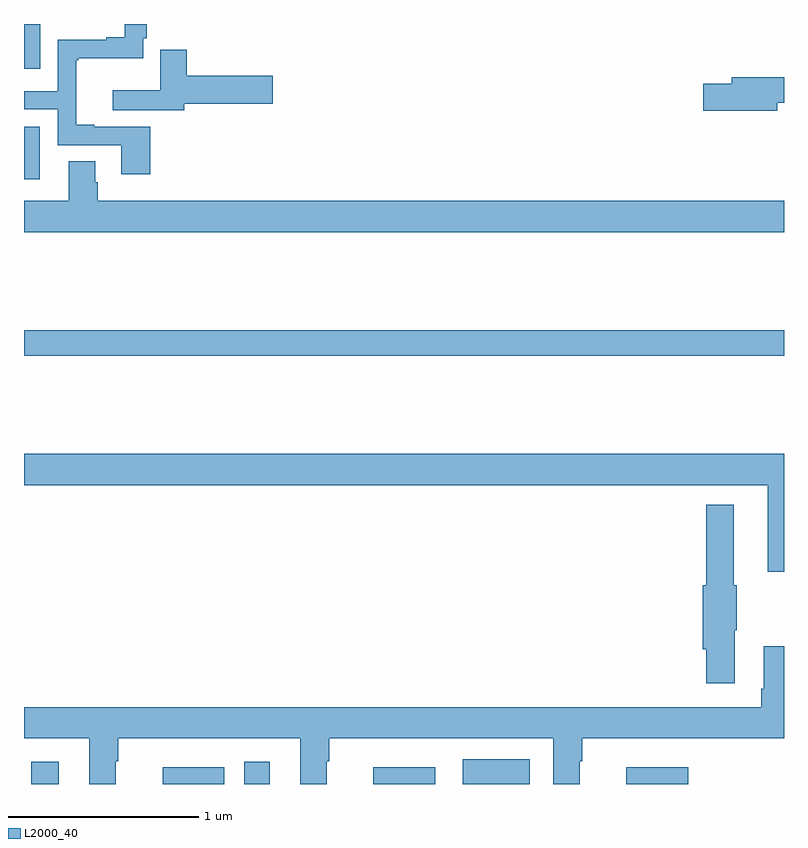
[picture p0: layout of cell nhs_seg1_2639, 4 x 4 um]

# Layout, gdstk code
import gdstk
lib = gdstk.Library(unit=1e-6, precision=1e-09)
def R(c, l, rs):  # rectangles x0, y0, x1, y1
    for r in rs: c.add(gdstk.rectangle(r[:2], r[2:], *l))
def P(c, l, *ps):  # polygons
    for p in ps: c.add(gdstk.Polygon(p, *l))
L2000_40 = (2000, 40)

nhs_seg1_2639 = lib.new_cell('nhs_seg1_2639')
R(nhs_seg1_2639, L2000_40, [(255.038,510.199,255.184,510.316), (255.729,510.199,256.054,510.286), (256.16,510.199,256.294,510.316), (256.839,510.199,257.164,510.286), (257.31,510.199,257.662,510.328), (258.171,510.199,258.496,510.286), (255,512.452,259,512.588), (255,513.381,255.082,513.657), (255,513.963,255.085,514.199)])
P(nhs_seg1_2639, L2000_40, [(255.665,513.657),(255.37,513.657),(255.37,513.67),(255.275,513.67),(255.275,514.008),(255.286,514.008),(255.286,514.019),(255.627,514.019),(255.627,514.123),(255.647,514.123),(255.647,514.199),(255.53,514.199),(255.53,514.129),(255.434,514.129),(255.434,514.116),(255.177,514.116),(255.177,513.846),(255,513.846),(255,513.75),(255.177,513.75),(255.177,513.561),(255.512,513.561),(255.512,513.408),(255.665,513.408)],
  [(255.844,513.779),(256.309,513.779),(256.309,513.926),(255.857,513.926),(255.857,514.063),(255.716,514.063),(255.716,513.85),(255.468,513.85),(255.468,513.746),(255.844,513.746)],
  [(258.964,513.784),(259,513.784),(259,513.92),(258.725,513.92),(258.725,513.884),(258.576,513.884),(258.576,513.742),(258.964,513.742)],
  [(259,513.268),(255.389,513.268),(255.389,513.366),(255.376,513.366),(255.376,513.476),(255.236,513.476),(255.236,513.268),(255,513.268),(255,513.104),(259,513.104)],
  [(259,511.936),(255,511.936),(255,511.772),(258.914,511.772),(258.914,511.317),(259,511.317)],
  [(258.742,511.009),(258.75,511.009),(258.75,511.245),(258.736,511.245),(258.736,511.669),(258.59,511.669),(258.59,511.245),(258.572,511.245),(258.572,510.909),(258.59,510.909),(258.59,510.729),(258.742,510.729)],
  [(255.484,510.32),(255.497,510.32),(255.497,510.44),(256.454,510.44),(256.454,510.199),(256.594,510.199),(256.594,510.32),(256.607,510.32),(256.607,510.44),(257.786,510.44),(257.786,510.199),(257.926,510.199),(257.926,510.32),(257.939,510.32),(257.939,510.44),(259,510.44),(259,510.925),(258.893,510.925),(258.893,510.7),(258.881,510.7),(258.881,510.604),(255,510.604),(255,510.44),(255.344,510.44),(255.344,510.199),(255.484,510.199)])

lib.write_gds('nhs_seg1_2639.gds')
